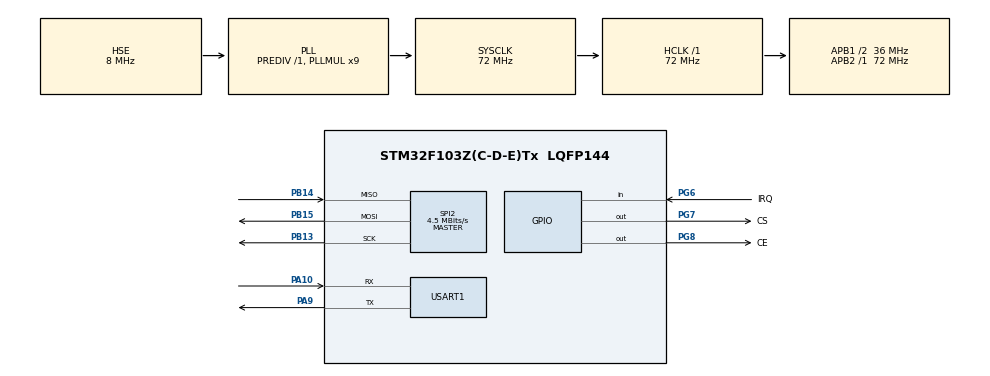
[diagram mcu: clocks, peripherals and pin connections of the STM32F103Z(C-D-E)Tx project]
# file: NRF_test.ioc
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Mcu.Family=STM32F1
Mcu.Name=STM32F103Z(C-D-E)Tx
Mcu.Package=LQFP144
NVIC.PriorityGroup=NVIC_PRIORITYGROUP_4
OSC_IN.Mode=HSE-External-Oscillator
OSC_IN.Signal=RCC_OSC_IN
OSC_OUT.Mode=HSE-External-Oscillator
OSC_OUT.Signal=RCC_OSC_OUT
PA10.Mode=Asynchronous
PA10.Signal=USART1_RX
PA13.Mode=Serial_Wire
PA13.Signal=SYS_JTMS-SWDIO
PA14.Mode=Serial_Wire
PA14.Signal=SYS_JTCK-SWCLK
PA9.Mode=Asynchronous
PA9.Signal=USART1_TX
PB13.Mode=Full_Duplex_Master
PB13.Signal=SPI2_SCK
PB14.Mode=Full_Duplex_Master
PB14.Signal=SPI2_MISO
PB15.Mode=Full_Duplex_Master
PB15.Signal=SPI2_MOSI
PG6.GPIO_Label=IRQ
PG6.GPIO_PuPd=GPIO_PULLUP
PG6.Signal=GPIO_Input
PG7.GPIO_Label=CS
PG7.GPIO_Speed=GPIO_SPEED_FREQ_HIGH
PG7.PinState=GPIO_PIN_SET
PG7.Signal=GPIO_Output
PG8.GPIO_Label=CE
PG8.GPIO_Speed=GPIO_SPEED_FREQ_HIGH
PG8.PinState=GPIO_PIN_SET
PG8.Signal=GPIO_Output
ProjectManager.HeapSize=0x200
ProjectManager.StackSize=0x400
ProjectManager.TargetToolchain=MDK-ARM V5.32
RCC.AHBFreq_Value=72000000
RCC.APB1CLKDivider=RCC_HCLK_DIV2
RCC.APB1Freq_Value=36000000
RCC.APB1TimFreq_Value=72000000
RCC.APB2Freq_Value=72000000
RCC.APB2TimFreq_Value=72000000
RCC.HCLKFreq_Value=72000000
RCC.PLLMUL=RCC_PLL_MUL9
RCC.PLLSourceVirtual=RCC_PLLSOURCE_HSE
RCC.SYSCLKFreq_VALUE=72000000
RCC.SYSCLKSource=RCC_SYSCLKSOURCE_PLLCLK
RCC.USBFreq_Value=72000000
SPI2.BaudRatePrescaler=SPI_BAUDRATEPRESCALER_8
SPI2.CalculateBaudRate=4.5 MBits/s
SPI2.Direction=SPI_DIRECTION_2LINES
SPI2.Mode=SPI_MODE_MASTER
SPI2.VirtualType=VM_MASTER
USART1.VirtualMode=VM_ASYNC
board=custom

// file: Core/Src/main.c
/* USER CODE BEGIN Header */
/**
  ******************************************************************************
  * @file           : main.c
  * @brief          : Main program body
  ******************************************************************************
  * @attention
  *
  * Copyright (c) 2023 STMicroelectronics.
  * All rights reserved.
  *
  * This software is licensed under terms that can be found in the LICENSE file
  * in the root directory of this software component.
  * If no LICENSE file comes with this software, it is provided AS-IS.
  *
  ******************************************************************************
  */
/* USER CODE END Header */
#include "main.h"
#include "spi.h"
#include "usart.h"
#include "gpio.h"

/* USER CODE BEGIN Includes */
#include "NRF24L01.h"
#include "stdio.h"
/* USER CODE END Includes */

void SystemClock_Config(void);

/* USER CODE BEGIN 0 */
unsigned char tmp_buf[32] = {0};
/* USER CODE END 0 */

int main(void)
{

  /* MCU Configuration--------------------------------------------------------*/

  /* Reset of all peripherals, Initializes the Flash interface and the Systick. */
  HAL_Init();

  /* Configure the system clock */
  SystemClock_Config();

  /* Initialize all configured peripherals */
  MX_GPIO_Init();
  MX_SPI2_Init();
  MX_USART1_UART_Init();
  /* USER CODE BEGIN 2 */
	NRF24L01_Init();
	printf("init OK!\n");
	NRF24L01_Check();

	TX_Mode();
  /* USER CODE END 2 */

  /* Infinite loop */
  /* USER CODE BEGIN WHILE */
  while (1)
  {
		HAL_Delay(1000);
		//test_TX_ack_data();

			tmp_buf[31]++;

			if(NRF24L01_TxPacket(tmp_buf) == 0x20)	//????????
			{
				//read ack data;
				//NRF24L01_RxPacket(tmp_buf2);
		    printf("send data OK!\r\n");
				/*
				for(i=0;i<32;i++)
					printf(" %x",tmp_buf2[i]);
			c	printf("\r\n");
				*/
				tmp_buf[30]++;
			}
		  else
			{
				printf("send error!\r\n");
		  }
    /* USER CODE END WHILE */

  }
}

void SystemClock_Config(void)
{
  RCC_OscInitTypeDef RCC_OscInitStruct = {0};
  RCC_ClkInitTypeDef RCC_ClkInitStruct = {0};

  /** Initializes the RCC Oscillators according to the specified parameters
  * in the RCC_OscInitTypeDef structure.
  */
  RCC_OscInitStruct.OscillatorType = RCC_OSCILLATORTYPE_HSE;
  RCC_OscInitStruct.HSEState = RCC_HSE_ON;
  RCC_OscInitStruct.HSEPredivValue = RCC_HSE_PREDIV_DIV1;
  RCC_OscInitStruct.HSIState = RCC_HSI_ON;
  RCC_OscInitStruct.PLL.PLLState = RCC_PLL_ON;
  RCC_OscInitStruct.PLL.PLLSource = RCC_PLLSOURCE_HSE;
  RCC_OscInitStruct.PLL.PLLMUL = RCC_PLL_MUL9;
  if (HAL_RCC_OscConfig(&RCC_OscInitStruct) != HAL_OK)
  {
    Error_Handler();
  }

  /** Initializes the CPU, AHB and APB buses clocks
  */
  RCC_ClkInitStruct.ClockType = RCC_CLOCKTYPE_HCLK|RCC_CLOCKTYPE_SYSCLK
                              |RCC_CLOCKTYPE_PCLK1|RCC_CLOCKTYPE_PCLK2;
  RCC_ClkInitStruct.SYSCLKSource = RCC_SYSCLKSOURCE_PLLCLK;
  RCC_ClkInitStruct.AHBCLKDivider = RCC_SYSCLK_DIV1;
  RCC_ClkInitStruct.APB1CLKDivider = RCC_HCLK_DIV2;
  RCC_ClkInitStruct.APB2CLKDivider = RCC_HCLK_DIV1;

  if (HAL_RCC_ClockConfig(&RCC_ClkInitStruct, FLASH_LATENCY_2) != HAL_OK)
  {
    Error_Handler();
  }
}

/* USER CODE BEGIN 4 */
int fputc(int ch, FILE *f)
{
  HAL_UART_Transmit(&huart1, (uint8_t *)&ch, 1, 0xffff);
  return ch;
}

int fgetc(FILE *f)
{
  uint8_t ch = 0;
  HAL_UART_Receive(&huart1, &ch, 1, 0xffff);
  return ch;
}
/* USER CODE END 4 */

void Error_Handler(void)
{
  __disable_irq();
  while (1)
  {
  }
}
